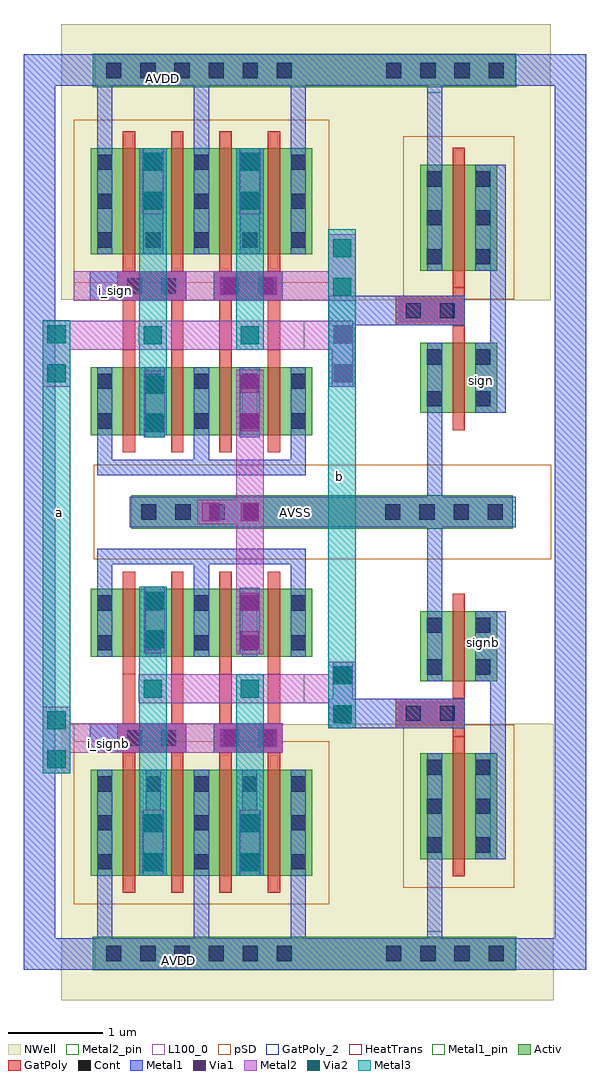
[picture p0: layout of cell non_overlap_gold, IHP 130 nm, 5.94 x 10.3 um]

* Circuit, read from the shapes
.subckt non_overlap_gold AVDD AVSS a b i_sign i_signb sign signb
XM1 b i_signb n1 AVSS sg13_lv_nmos w=0.72u l=0.13u m=2
XM2 a i_sign n2 AVSS sg13_lv_nmos w=0.72u l=0.13u m=2
XM3 AVSS a n1 AVSS sg13_lv_nmos w=0.72u l=0.13u m=2
XM4 AVSS b n2 AVSS sg13_lv_nmos w=0.72u l=0.13u m=2
XM5 signb b AVSS AVSS sg13_lv_nmos w=0.74u l=0.13u
XM6 sign a AVSS AVSS sg13_lv_nmos w=0.74u l=0.13u
XM7 b i_signb AVDD AVDD sg13_lv_pmos w=1.12u l=0.13u m=2
XM8 a i_sign AVDD AVDD sg13_lv_pmos w=1.12u l=0.13u m=2
XM9 b a AVDD AVDD sg13_lv_pmos w=1.12u l=0.13u m=2
XM10 a b AVDD AVDD sg13_lv_pmos w=1.12u l=0.13u m=2
XM11 signb b AVDD AVDD sg13_lv_pmos w=1.12u l=0.13u
XM12 sign a AVDD AVDD sg13_lv_pmos w=1.12u l=0.13u
.ends

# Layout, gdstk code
from math import pi, radians
import gdstk
lib = gdstk.Library(unit=1e-6, precision=1e-09)
def R(c, l, rs):  # rectangles x0, y0, x1, y1
    for r in rs: c.add(gdstk.rectangle(r[:2], r[2:], *l))
def A(c, l, x, y, w, h, nx, ny, dx, dy):  # array of equal rectangles
    R(c, l, [(x+i*dx, y+j*dy, x+i*dx+w, y+j*dy+h) for i in range(nx) for j in range(ny)])
Activ = (1, 0)
GatPoly = (5, 0)
GatPoly_2 = (5, 2)
Cont = (6, 0)
Metal1 = (8, 0)
Metal1_pin = (8, 2)
Metal2 = (10, 0)
Metal2_pin = (10, 2)
pSD = (14, 0)
Via1 = (19, 0)
Via2 = (29, 0)
Metal3 = (30, 0)
NWell = (31, 0)
HeatTrans = (51, 0)
L100_0 = (100, 0)

via_stack = lib.new_cell('via_stack')
R(via_stack, Metal1, [(-0.105,-0.35,0.105,0.35)])
R(via_stack, Metal2, [(-0.1,-0.35,0.1,0.35)])
R(via_stack, Via1, [(-0.095,-0.3,0.095,-0.11), (-0.095,0.11,0.095,0.3)])

via_stack_2 = lib.new_cell('via_stack$2')
R(via_stack_2, Metal1, [(-0.105,-0.35,0.105,0.35)])
R(via_stack_2, Metal2, [(-0.1,-0.35,0.1,0.35)])
R(via_stack_2, Via1, [(-0.095,-0.3,0.095,-0.11), (-0.095,0.11,0.095,0.3)])
R(via_stack_2, Via2, [(-0.095,-0.3,0.095,-0.11), (-0.095,0.11,0.095,0.3)])
R(via_stack_2, Metal3, [(-0.1,-0.35,0.1,0.35)])

via_stack_3 = lib.new_cell('via_stack$3')
R(via_stack_3, Metal2, [(-0.145,-0.1,0.145,0.1)])
R(via_stack_3, Via2, [(-0.095,-0.095,0.095,0.095)])
R(via_stack_3, Metal3, [(-0.145,-0.1,0.145,0.1)])

nmos_1 = lib.new_cell('nmos$1')
A(nmos_1, Activ, 0, 0, 0.3, 0.3, 3, 1, 0.51, 0)
R(nmos_1, Activ, [(0,0,1.32,0.72)])
R(nmos_1, GatPoly, [(0.34,-0.18,0.47,0.9), (0.85,-0.18,0.98,0.9)])
R(nmos_1, GatPoly_2, [(0.34,-0.18,0.47,0.9)])
A(nmos_1, Cont, 0.07, 0.07, 0.16, 0.16, 3, 2, 0.51, 0.42)
A(nmos_1, Metal1, 0.07, 0, 0.16, 0.72, 3, 1, 0.51, 0)
R(nmos_1, Metal1_pin, [(0.07,0,0.23,0.72), (0.58,0,0.74,0.72)])
R(nmos_1, HeatTrans, [(0.34,-0.18,0.47,0.9), (0.85,-0.18,0.98,0.9)])
nmos_1.add(gdstk.Label('nmos', (0.405,0.36), layer=63, texttype=0))
nmos_1.add(gdstk.Label('nmos', (0.405,0.36), layer=51, texttype=0))
nmos_1.add(gdstk.Label('nmos', (0.915,0.36), layer=51, texttype=0))

pmos_1 = lib.new_cell('pmos$1')
A(pmos_1, Activ, 0, 0, 0.3, 0.3, 3, 1, 0.51, 0)
R(pmos_1, Activ, [(0,0,1.32,1.12)])
R(pmos_1, GatPoly, [(0.34,-0.18,0.47,1.3), (0.34,-0.18,0.47,1.3), (0.85,-0.18,0.98,1.3)])
A(pmos_1, Cont, 0.07, 0.07, 0.16, 0.16, 3, 3, 0.51, 0.41)
R(pmos_1, Metal1, [(0.07,0,0.23,1.12), (0.07,0,0.23,1.12), (0.58,0,0.74,1.12), (0.58,0,0.74,1.12), (1.09,0,1.25,1.12)])
R(pmos_1, pSD, [(-0.18,-0.3,1.5,1.42)])
R(pmos_1, NWell, [(-0.31,-0.31,1.63,1.43)])
R(pmos_1, HeatTrans, [(0.34,-0.18,0.47,1.3), (0.85,-0.18,0.98,1.3)])
pmos_1.add(gdstk.Label('pmos', (0.405,0.56), layer=63, texttype=0))
pmos_1.add(gdstk.Label('pmos', (0.405,0.56), layer=51, texttype=0))
pmos_1.add(gdstk.Label('pmos', (0.915,0.56), layer=51, texttype=0))

nand = lib.new_cell('nand')
R(nand, Activ, [(-0.015,-2.86,1.435,-2.51), (-0.425,1.8,1.83,2.15)])
R(nand, GatPoly, [(-0.165,-0.455,0.205,-0.145), (0.195,-0.455,0.565,-0.145), (0.855,-0.455,1.225,-0.145), (1.215,-0.455,1.585,-0.145)])
A(nand, Cont, 0.09, -2.765, 0.16, 0.16, 4, 1, 0.36, 0)
A(nand, Cont, -0.28, 1.895, 0.16, 0.16, 6, 1, 0.36, 0)
R(nand, Cont, [(-0.06,-0.38,0.1,-0.22), (0.3,-0.38,0.46,-0.22), (0.96,-0.38,1.12,-0.22), (1.32,-0.38,1.48,-0.22)])
R(nand, Metal1, [(-0.03,-2.845,1.45,-2.525), (-0.165,-0.455,0.205,-0.145), (0.195,-0.455,0.565,-0.145), (0.855,-0.455,1.225,-0.145), (1.215,-0.455,1.585,-0.145), (-0.4,1.815,1.825,2.135)])
R(nand, Metal1_pin, [(-0.03,-2.845,1.45,-2.525), (-0.45,-0.455,0.565,-0.145), (-0.4,1.815,1.825,2.135)])
R(nand, Metal2, [(1.09,-2.82,1.38,-1.185), (0.68,-2.815,1.38,-2.57), (0.115,-1.895,0.34,-1.195), (0.1,0.455,0.325,1.155), (1.125,0.455,1.35,1.155)])
R(nand, Metal2_pin, [(1.805,-0.975,2.07,-0.665), (-0.625,-0.455,-0.45,-0.145)])
A(nand, pSD, -0.38, -3.185, 1.13, 1, 4, 1, 0.36, 0)
R(nand, NWell, [(-0.755,1.465,2.205,2.465)])
nand.add(gdstk.FlexPath([(-0.04,-0.975),(-0.04,-0.445)], 0.13, ends="flush", simple_path=True, layer=5, datatype=0))  # GatPoly
nand.add(gdstk.FlexPath([(0.47,-0.975),(0.47,-0.455)], 0.13, ends="flush", simple_path=True, layer=5, datatype=0))  # GatPoly
nand.add(gdstk.FlexPath([(0.98,-0.975),(0.98,-0.445)], 0.13, ends="flush", simple_path=True, layer=5, datatype=0))  # GatPoly
nand.add(gdstk.FlexPath([(1.49,-0.975),(1.49,-0.455)], 0.13, ends="flush", simple_path=True, layer=5, datatype=0))  # GatPoly
nand.add(gdstk.FlexPath([(-0.375,-2.215),(1.825,-2.215)], 0.16, ends="flush", simple_path=True, layer=8, datatype=0))  # Metal1
nand.add(gdstk.FlexPath([(1.745,-1.875),(1.745,-2.295)], 0.16, ends="flush", simple_path=True, layer=8, datatype=0))  # Metal1
nand.add(gdstk.FlexPath([(0.725,-1.875),(0.725,-2.295)], 0.16, ends="flush", simple_path=True, layer=8, datatype=0))  # Metal1
nand.add(gdstk.FlexPath([(-0.295,-1.875),(-0.295,-2.295)], 0.16, ends="flush", simple_path=True, layer=8, datatype=0))  # Metal1
nand.add(gdstk.FlexPath([(0.565,-0.3),(-0.45,-0.3)], 0.31, ends="flush", simple_path=True, layer=8, datatype=0))  # Metal1
nand.add(gdstk.FlexPath([(-0.295,0.035),(-0.295,2.135)], 0.16, ends="flush", simple_path=True, layer=8, datatype=0))  # Metal1
nand.add(gdstk.FlexPath([(0.725,0.035),(0.725,2.135)], 0.16, ends="flush", simple_path=True, layer=8, datatype=0))  # Metal1
nand.add(gdstk.FlexPath([(1.745,0.035),(1.745,2.135)], 0.16, ends="flush", simple_path=True, layer=8, datatype=0))  # Metal1
nand.add(gdstk.FlexPath([(1.585,-0.3),(-0.625,-0.3)], 0.31, ends="flush", simple_path=True, layer=10, datatype=0))  # Metal2
nand.add(gdstk.FlexPath([(2.07,-0.82),(0.065,-0.82)], 0.31, ends="flush", simple_path=True, layer=10, datatype=0))  # Metal2
nand.add(gdstk.FlexPath([(0.215,1.155),(0.215,-0.975)], 0.29, ends="flush", simple_path=True, layer=30, datatype=0))  # Metal3
nand.add(gdstk.FlexPath([(1.235,1.155),(1.235,-0.975)], 0.29, ends="flush", simple_path=True, layer=30, datatype=0))  # Metal3
nand.add(gdstk.FlexPath([(0.215,-1.875),(0.215,-0.665)], 0.29, ends="flush", simple_path=True, layer=30, datatype=0))  # Metal3
nand.add(gdstk.Reference(via_stack, (1.235,-1.535)))
nand.add(gdstk.Reference(via_stack_2, (0.23,-1.545)))
nand.add(gdstk.Reference(via_stack_3, (0.21,-0.82)))
nand.add(gdstk.Reference(via_stack_3, (1.235,-0.82)))
nand.add(gdstk.Reference(via_stack_2, (1.235,0.805)))
nand.add(gdstk.Reference(via_stack_2, (0.215,0.805)))
nand.add(gdstk.Reference(nmos_1, (0.575,-1.875)))
nand.add(gdstk.Reference(pmos_1, (0.575,0.035)))
nand.add(gdstk.Reference(nmos_1, (-0.445,-1.875)))
nand.add(gdstk.Reference(pmos_1, (-0.445,0.035)))
nand.add(gdstk.Reference(pmos_1, (-0.445,0.035)))
nand.add(gdstk.Reference(via_stack, (1.03,-2.685), rotation=pi/2))
nand.add(gdstk.Reference(via_stack, (1.22,-0.295), rotation=pi/2))
nand.add(gdstk.Label('VSS', (0.015,-2.61), layer=8, texttype=25))
nand.add(gdstk.Label('VDD', (-0.05,1.98), layer=8, texttype=25))
nand.add(gdstk.Label('A', (-0.42,-0.41), layer=8, texttype=25))
nand.add(gdstk.Label('Y', (2.045,-0.87), layer=10, texttype=25))
nand.add(gdstk.Label('B', (-0.61,-0.41), layer=10, texttype=25))

pmos = lib.new_cell('pmos')
R(pmos, Activ, [(0,0,0.3,0.3), (0,0,0.81,1.12), (0.51,0,0.81,0.3)])
R(pmos, GatPoly, [(0.34,-0.18,0.47,1.3), (0.34,-0.18,0.47,1.3)])
A(pmos, Cont, 0.07, 0.07, 0.16, 0.16, 1, 3, 0, 0.41)
A(pmos, Cont, 0.58, 0.07, 0.16, 0.16, 1, 3, 0, 0.41)
R(pmos, Metal1, [(0.07,0,0.23,1.12), (0.07,0,0.23,1.12), (0.58,0,0.74,1.12), (0.58,0,0.74,1.12)])
R(pmos, pSD, [(-0.18,-0.3,0.99,1.42)])
R(pmos, NWell, [(-0.31,-0.31,1.12,1.43)])
R(pmos, HeatTrans, [(0.34,-0.18,0.47,1.3)])
pmos.add(gdstk.Label('pmos', (0.405,0.56), layer=63, texttype=0))
pmos.add(gdstk.Label('pmos', (0.405,0.56), layer=51, texttype=0))

nmos = lib.new_cell('nmos')
R(nmos, Activ, [(0,0,0.3,0.3), (0,0,0.81,0.74), (0.51,0,0.81,0.3)])
R(nmos, GatPoly, [(0.34,-0.18,0.47,0.92)])
R(nmos, GatPoly_2, [(0.34,-0.18,0.47,0.92)])
R(nmos, Cont, [(0.07,0.07,0.23,0.23), (0.58,0.07,0.74,0.23), (0.07,0.51,0.23,0.67), (0.58,0.51,0.74,0.67)])
R(nmos, Metal1, [(0.07,0,0.23,0.74), (0.58,0,0.74,0.74)])
R(nmos, Metal1_pin, [(0.07,0,0.23,0.74), (0.58,0,0.74,0.74)])
R(nmos, HeatTrans, [(0.34,-0.18,0.47,0.92)])
nmos.add(gdstk.Label('nmos', (0.405,0.37), layer=63, texttype=0))
nmos.add(gdstk.Label('nmos', (0.405,0.37), layer=51, texttype=0))

inverter = lib.new_cell('inverter')
R(inverter, Activ, [(0.525,-1.72,1.975,-1.37), (0.535,2.94,1.985,3.29), (0.535,2.94,1.985,3.29)])
R(inverter, GatPoly, [(0.74,0.425,1.47,0.735)])
R(inverter, GatPoly_2, [(1.34,-0.68,1.47,2.3)])
A(inverter, Cont, 0.63, -1.625, 0.16, 0.16, 4, 1, 0.36, 0)
R(inverter, Cont, [(0.845,0.5,1.005,0.66), (1.205,0.5,1.365,0.66), (0.64,3.035,0.8,3.195), (0.64,3.035,0.8,3.195), (1,3.035,1.16,3.195), (1,3.035,1.16,3.195), (1.36,3.035,1.52,3.195), (1.36,3.035,1.52,3.195), (1.72,3.035,1.88,3.195), (1.72,3.035,1.88,3.195)])
R(inverter, Metal1, [(0.525,-1.705,2.005,-1.385), (1.74,-0.5,1.9,2.12), (0.74,0.425,1.47,0.735), (1.07,2.88,1.23,3.275), (1.07,2.88,1.23,3.275), (0.52,2.955,2,3.275), (0.52,2.955,2,3.275)])
R(inverter, Metal1_pin, [(1.07,-1.695,1.23,0.24), (1.74,-0.5,1.9,2.12), (1.74,-0.5,1.9,2.12), (0.74,0.425,1.47,0.735), (1.07,1,1.23,2.885)])
R(inverter, pSD, [(0.17,-2.045,2.38,-1.045)])
R(inverter, NWell, [(0.165,0.69,2.375,3.605)])
R(inverter, L100_0, [(1.069,-0.431,1.231,-0.269), (1.069,-0.431,1.231,-0.269), (1.579,-0.431,1.741,-0.269), (1.579,-0.431,1.741,-0.269), (1.069,0.009,1.231,0.171), (1.069,0.009,1.231,0.171), (1.579,0.009,1.741,0.171), (1.579,0.009,1.741,0.171), (1.069,1.069,1.231,1.231), (1.069,1.069,1.231,1.231), (1.579,1.069,1.741,1.231), (1.579,1.069,1.741,1.231), (1.069,1.479,1.231,1.641), (1.069,1.479,1.231,1.641), (1.579,1.479,1.741,1.641), (1.579,1.479,1.741,1.641), (1.069,1.889,1.231,2.051), (1.069,1.889,1.231,2.051), (1.579,1.889,1.741,2.051), (1.579,1.889,1.741,2.051)])
inverter.add(gdstk.FlexPath([(1.405,0.42),(1.405,0.825)], 0.13, ends="flush", simple_path=True, layer=5, datatype=0))  # GatPoly
inverter.add(gdstk.FlexPath([(1.15,0.24),(1.15,-1.695)], 0.16, ends="flush", simple_path=True, layer=8, datatype=0))  # Metal1
inverter.add(gdstk.FlexPath([(1.15,2.885),(1.15,2.12)], 0.16, ends="flush", simple_path=True, layer=8, datatype=0))  # Metal1
inverter.add(gdstk.Reference(pmos, (1,1)))
inverter.add(gdstk.Reference(nmos, (1,-0.5)))
inverter.add(gdstk.Label('A', (0.785,0.57), layer=8, texttype=25))
inverter.add(gdstk.Label('Y', (1.82,0.7), layer=8, texttype=25))
inverter.add(gdstk.Label('VDD', (1.15,2.665), layer=8, texttype=25))
inverter.add(gdstk.Label('VSS', (1.15,-1.225), layer=8, texttype=25))

via_stack_5 = lib.new_cell('via_stack$5')
R(via_stack_5, Metal2, [(-0.1,-0.35,0.1,0.35)])
R(via_stack_5, Via2, [(-0.095,-0.3,0.095,-0.11), (-0.095,0.11,0.095,0.3)])
R(via_stack_5, Metal3, [(-0.1,-0.35,0.1,0.35)])

non_overlap_gold = lib.new_cell('non_overlap_gold')
R(non_overlap_gold, Activ, [(-0.425,-7.52,4.045,-7.17), (-0.015,-2.86,4.01,-2.51), (-0.425,1.8,4.045,2.15)])
R(non_overlap_gold, Metal1, [(-0.4,-7.515,4.035,-7.185), (-0.03,-2.845,4.04,-2.525), (0.125,-1.895,0.335,-1.155), (1.13,-1.895,1.34,-1.155), (2.07,-1.365,2.35,-0.405), (0.11,0.035,0.32,1.155), (1.13,0.035,1.34,1.155), (-0.4,1.82,4.035,2.145)])
R(non_overlap_gold, Metal1_pin, [(-0.4,-7.515,4.035,-7.185), (-0.03,-2.845,4.04,-2.525), (-0.4,1.82,4.035,2.145)])
R(non_overlap_gold, Metal2, [(-0.95,-5.44,-0.66,-4.74), (-0.92,-5.44,-0.695,-4.74), (-0.95,-5.225,1.585,-4.915), (2.065,-4.965,2.355,-4.265), (2.095,-4.965,2.32,-4.265), (2.1,-4.965,2.325,-4.265), (-0.95,-1.365,-0.66,-0.665), (-0.92,-1.365,-0.695,-0.665), (2.1,-1.365,2.325,-0.665), (-0.9,-0.975,2.2,-0.665), (-0.625,-0.455,2.355,-0.145), (2.065,-0.455,2.355,0.245), (2.095,-0.455,2.32,0.245)])
R(non_overlap_gold, pSD, [(-0.41,-3.185,4.415,-2.185)])
R(non_overlap_gold, Metal3, [(0.07,-6.525,0.36,-3.475), (-0.95,-5.44,-0.66,-2.39), (-0.95,-5.44,-0.66,-0.66), (2.065,-4.96,2.355,0.3)])
R(non_overlap_gold, NWell, [(-0.755,-7.835,4.41,-4.925), (-0.725,-7.835,4.44,-4.925), (-0.755,-0.445,4.41,2.465), (-0.755,-0.445,4.41,2.465)])
non_overlap_gold.add(gdstk.FlexPath([(-0.4,-7.35),(-0.985,-7.35),(-0.985,1.98),(-0.4,1.98)], 0.33, ends="flush", simple_path=True, layer=8, datatype=0))  # Metal1
non_overlap_gold.add(gdstk.FlexPath([(4.035,-7.35),(4.62,-7.35),(4.62,1.98),(-0.755,1.98)], 0.33, ends="flush", simple_path=True, layer=8, datatype=0))  # Metal1
non_overlap_gold.add(gdstk.FlexPath([(2.78,-0.56),(2.07,-0.56)], 0.31, ends="flush", simple_path=True, layer=8, datatype=0))  # Metal1
non_overlap_gold.add(gdstk.FlexPath([(2.78,-4.81),(2.07,-4.81)], 0.31, ends="flush", simple_path=True, layer=8, datatype=0))  # Metal1
non_overlap_gold.add(gdstk.FlexPath([(2.2,-4.55),(0.065,-4.55)], 0.31, ends="flush", simple_path=True, layer=10, datatype=0))  # Metal2
non_overlap_gold.add(gdstk.FlexPath([(2.2,-0.82),(0.065,-0.82)], 0.31, ends="flush", simple_path=True, layer=10, datatype=0))  # Metal2
non_overlap_gold.add(gdstk.Reference(via_stack, (2.215,-1.015)))
non_overlap_gold.add(gdstk.Reference(nand, (0,0)))
non_overlap_gold.add(gdstk.Reference(via_stack, (2.215,-4.615), x_reflection=True))
non_overlap_gold.add(gdstk.Reference(inverter, (2.035,-1.14)))
non_overlap_gold.add(gdstk.Reference(inverter, (2.035,-4.23), x_reflection=True))
non_overlap_gold.add(gdstk.Reference(nand, (0,-5.37), x_reflection=True))
non_overlap_gold.add(gdstk.Reference(via_stack_5, (-0.805,-5.09), x_reflection=True))
non_overlap_gold.add(gdstk.Reference(via_stack_5, (-0.805,-1.015), x_reflection=True))
non_overlap_gold.add(gdstk.Reference(via_stack_5, (2.21,-0.105), x_reflection=True))
non_overlap_gold.add(gdstk.Reference(via_stack_5, (2.21,-4.615), x_reflection=True))
non_overlap_gold.add(gdstk.Label('signb', (3.7,-4.065), layer=8, texttype=25))
non_overlap_gold.add(gdstk.Label('sign', (3.68,-1.3), layer=8, texttype=25))
non_overlap_gold.add(gdstk.Label('i_sign', (-0.18,-0.35), layer=8, texttype=25))
non_overlap_gold.add(gdstk.Label('i_signb', (-0.26,-5.13), layer=8, texttype=25))
non_overlap_gold.add(gdstk.Label('AVSS', (1.715,-2.685), layer=8, texttype=25))
non_overlap_gold.add(gdstk.Label('AVDD', (0.485,-7.42), layer=8, texttype=25))
non_overlap_gold.add(gdstk.Label('AVDD', (0.315,1.885), layer=8, texttype=25))
non_overlap_gold.add(gdstk.Label('a', (-0.77,-2.685), layer=30, texttype=25))
non_overlap_gold.add(gdstk.Label('b', (2.18,-2.315), layer=30, texttype=25))

lib.write_gds('non_overlap_gold.gds')
